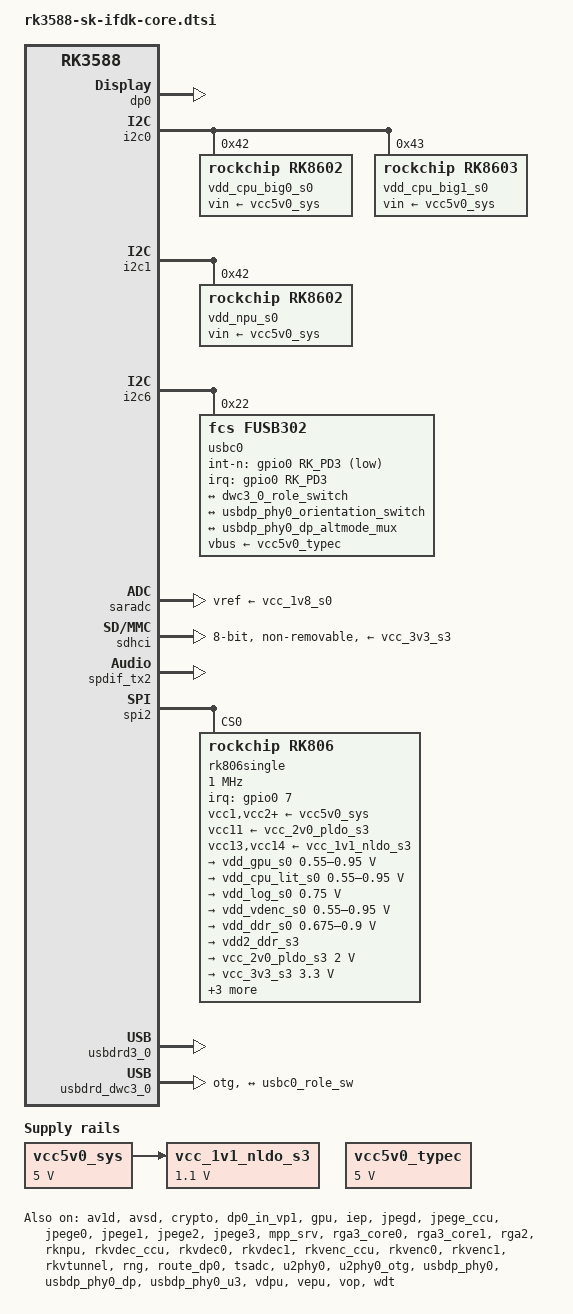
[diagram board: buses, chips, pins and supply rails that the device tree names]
// SPDX-License-Identifier: (GPL-2.0+ OR MIT)
/*
* Copyright (c) 2025 Sergey Kharenko
* Copyright (c) 2021 Rockchip Electronics Co., Ltd.
*/

#include <dt-bindings/display/drm_mipi_dsi.h>
#include <dt-bindings/display/rockchip_vop.h>
#include <dt-bindings/gpio/gpio.h>
#include <dt-bindings/pwm/pwm.h>
#include <dt-bindings/pinctrl/rockchip.h>
#include <dt-bindings/sensor-dev.h>
#include <dt-bindings/usb/pd.h>

#include "rk3588.dtsi"
#include "rk3588-linux.dtsi"

/ {
	chosen: chosen {
		bootargs = "earlycon=uart8250,mmio32,0xfeb50000 console=ttyFIQ0 coherent_pool=1m irqchip.gicv3_pseudo_nmi=0";
	};

	dp0_sound: dp0-sound {
		compatible = "rockchip,hdmi";
		rockchip,card-name = "rockchip-dp0";
		rockchip,mclk-fs = <512>;
		rockchip,cpu = <&spdif_tx2>;
		rockchip,codec = <&dp0 1>;
		rockchip,jack-det;
	};
	
	vcc5v0_sys: vcc5v0-sys {
		compatible = "regulator-fixed";
		regulator-name = "vcc5v0_sys";
		regulator-always-on;
		regulator-boot-on;
		regulator-min-microvolt = <5000000>;
		regulator-max-microvolt = <5000000>;
	};
	
	vcc5v0_typec: vcc5v0-typec-regulator {
		compatible = "regulator-fixed";
		regulator-name = "vcc5v0_typec";
		regulator-min-microvolt = <5000000>;
		regulator-max-microvolt = <5000000>;
	};
	
	vcc_1v1_nldo_s3: vcc-1v1-nldo-s3 {
		compatible = "regulator-fixed";
		regulator-name = "vcc_1v1_nldo_s3";
		regulator-always-on;
		regulator-boot-on;
		regulator-min-microvolt = <1100000>;
		regulator-max-microvolt = <1100000>;
		vin-supply = <&vcc5v0_sys>;
	};
};

&av1d {
	status = "okay";
};

&av1d_mmu {
	status = "okay";
};

&avsd {
	status = "okay";
};

&cpu_l0 {
	cpu-supply = <&vdd_cpu_lit_s0>;
	mem-supply = <&vdd_cpu_lit_mem_s0>;
};

&cpu_b0 {
	cpu-supply = <&vdd_cpu_big0_s0>;
	mem-supply = <&vdd_cpu_big0_mem_s0>;
};

&cpu_b2 {
	cpu-supply = <&vdd_cpu_big1_s0>;
	mem-supply = <&vdd_cpu_big1_mem_s0>;
};

&crypto {
	status = "okay";
};

&dp0 {
	status = "okay";
};

&dp0_in_vp0 {
	status = "disabled";
};

&dp0_in_vp1 {
	status = "okay";
};

&dp0_in_vp2 {
	status = "disabled";
};

&gpu {
	mali-supply = <&vdd_gpu_s0>;
	mem-supply = <&vdd_gpu_mem_s0>;
	status = "okay";
};

&i2c0 {
	status = "okay";
	pinctrl-names = "default";
	pinctrl-0 = <&i2c0m2_xfer>;
	
	vdd_cpu_big0_s0: vdd_cpu_big0_mem_s0: rk8602@42 {
		compatible = "rockchip,rk8602";
		reg = <0x42>;
		vin-supply = <&vcc5v0_sys>;
		regulator-compatible = "rk860x-reg";
		regulator-name = "vdd_cpu_big0_s0";
		regulator-min-microvolt = <550000>;
		regulator-max-microvolt = <1050000>;
		regulator-ramp-delay = <2300>;
		rockchip,suspend-voltage-selector = <1>;
		regulator-boot-on;
		regulator-always-on;
		regulator-state-mem {
			regulator-off-in-suspend;
		};
	};
	
	vdd_cpu_big1_s0: vdd_cpu_big1_mem_s0: rk8603@43 {
		compatible = "rockchip,rk8603";
		reg = <0x43>;
		vin-supply = <&vcc5v0_sys>;
		regulator-compatible = "rk860x-reg";
		regulator-name = "vdd_cpu_big1_s0";
		regulator-min-microvolt = <550000>;
		regulator-max-microvolt = <1050000>;
		regulator-ramp-delay = <2300>;
		rockchip,suspend-voltage-selector = <1>;
		regulator-boot-on;
		regulator-always-on;
		regulator-state-mem {
			regulator-off-in-suspend;
		};
	};
};

&i2c1 {
	status = "okay";
	pinctrl-names = "default";
	pinctrl-0 = <&i2c1m2_xfer>;
	
	vdd_npu_s0: vdd_npu_mem_s0: rk8602@42 {
		compatible = "rockchip,rk8602";
		reg = <0x42>;
		vin-supply = <&vcc5v0_sys>;
		regulator-compatible = "rk860x-reg";
		regulator-name = "vdd_npu_s0";
		regulator-min-microvolt = <550000>;
		regulator-max-microvolt = <950000>;
		regulator-ramp-delay = <2300>;
		rockchip,suspend-voltage-selector = <1>;
		regulator-boot-on;
		regulator-always-on;
		regulator-state-mem {
			regulator-off-in-suspend;
		};
	};
};

&i2c6 {
	status = "okay";
	
	usbc0: fusb302@22 {
		compatible = "fcs,fusb302";
		reg = <0x22>;
		interrupt-parent = <&gpio0>;
		interrupts = <RK_PD3 IRQ_TYPE_LEVEL_LOW>;
		int-n-gpios = <&gpio0 RK_PD3 GPIO_ACTIVE_LOW>;
		pinctrl-names = "default";
		pinctrl-0 = <&usbc0_int>;
		vbus-supply = <&vcc5v0_typec>;
		
		ports {
			#address-cells = <1>;
			#size-cells = <0>;
			
			port@0 {
				reg = <0>;
				usbc0_role_sw: endpoint@0 {
					remote-endpoint = <&dwc3_0_role_switch>;
				};
			};
		};
		
		usb_con: connector {
			compatible = "usb-c-connector";
			label = "USB-C";
			data-role = "dual";
			power-role = "dual";
			try-power-role = "sink";
			op-sink-microwatt = <1000000>;
			sink-pdos =
			<PDO_FIXED(5000, 3000, PDO_FIXED_USB_COMM)>;
			source-pdos =
			<PDO_FIXED(5000, 2000, PDO_FIXED_USB_COMM)>;
			
			altmodes {
				#address-cells = <1>;
				#size-cells = <0>;
				
				altmode@0 {
					reg = <0>;
					svid = <0xff01>;
					vdo = <0xffffffff>;
				};
			};
			
			ports {
				#address-cells = <1>;
				#size-cells = <0>;
				
				port@0 {
					reg = <0>;
					usbc0_orien_sw: endpoint {
						remote-endpoint = <&usbdp_phy0_orientation_switch>;
					};
				};
				
				port@1 {
					reg = <1>;
					dp_altmode_mux: endpoint {
						remote-endpoint = <&usbdp_phy0_dp_altmode_mux>;
					};
				};
			};
		};
	};
};

&iep {
	status = "okay";
};

&iep_mmu {
	status = "okay";
};

&jpegd {
	status = "okay";
};

&jpegd_mmu {
	status = "okay";
};

&jpege_ccu {
	status = "okay";
};

&jpege0 {
	status = "okay";
};

&jpege0_mmu {
	status = "okay";
};

&jpege1 {
	status = "okay";
};

&jpege1_mmu {
	status = "okay";
};

&jpege2 {
	status = "okay";
};

&jpege2_mmu {
	status = "okay";
};

&jpege3 {
	status = "okay";
};

&jpege3_mmu {
	status = "okay";
};

&mpp_srv {
	status = "okay";
};

&rga3_core0 {
	status = "okay";
};

&rga3_0_mmu {
	status = "okay";
};

&rga3_core1 {
	status = "okay";
};

&rga3_1_mmu {
	status = "okay";
};

&rga2 {
	status = "okay";
};

&rknpu {
	rknpu-supply = <&vdd_npu_s0>;
	mem-supply = <&vdd_npu_mem_s0>;
	status = "okay";
};

&rknpu_mmu {
	status = "okay";
};

&rkvdec_ccu {
	status = "okay";
};

&rkvdec0 {
	status = "okay";
	vdec-supply = <&vdd_vdenc_s0>;
};

&rkvdec0_mmu {
	status = "okay";
};

&rkvdec1 {
	status = "okay";
	vdec-supply = <&vdd_vdenc_s0>;
};

&rkvdec1_mmu {
	status = "okay";
};

&rkvenc_ccu {
	status = "okay";
};

&rkvenc0 {
	status = "okay";
	venc-supply = <&vdd_vdenc_s0>;
};

&rkvenc0_mmu {
	status = "okay";
};

&rkvenc1 {
	status = "okay";
	venc-supply = <&vdd_vdenc_s0>;
};

&rkvenc1_mmu {
	status = "okay";
};

&rkvtunnel {
	status = "okay";
};

&rng {
	status = "okay";
};

&route_dp0 {
    status = "okay";
};

&saradc {
	status = "okay";
	vref-supply = <&vcc_1v8_s0>;
};

&sdhci {
	status = "okay";
	bus-width = <8>;
	no-sdio;
	no-sd;
	non-removable;
	max-frequency = <200000000>;
	mmc-hs400-1_8v;
	mmc-hs400-enhanced-strobe;
	vmmc-supply = <&vcc_3v3_s3>;
	vqmmc-supply = <&vccio_sd_s0>;
};

&spdif_tx2 {
	status = "okay";
};

&spi2 {
	status = "okay";
	assigned-clocks = <&cru CLK_SPI2>;
	assigned-clock-rates = <200000000>;
	pinctrl-names = "default";
	pinctrl-0 = <&spi2m2_cs0 &spi2m2_pins>;
	num-cs = <1>;
	
	rk806single: rk806single@0 {
		compatible = "rockchip,rk806";
		spi-max-frequency = <1000000>;
		reg = <0x0>;
		
		interrupt-parent = <&gpio0>;
		interrupts = <7 IRQ_TYPE_LEVEL_LOW>;
		
		pinctrl-names = "default", "pmic-power-off";
		pinctrl-0 = <&pmic_pins>, <&rk806_dvs1_null>, <&rk806_dvs2_null>, <&rk806_dvs3_null>;
		pinctrl-1 = <&rk806_dvs1_pwrdn>;
		
		/* 2800mv-3500mv */
		low_voltage_threshold = <3000>;
		/* 2700mv-3400mv */
		shutdown_voltage_threshold = <2700>;
		/* 140 160 */
		shutdown_temperture_threshold = <160>;
		hotdie_temperture_threshold = <115>;
		
		/* 0: restart PMU;
		* 1: reset all the power off reset registers,
		*    forcing the state to switch to ACTIVE mode;
		* 2: Reset all the power off reset registers,
		*    forcing the state to switch to ACTIVE mode,
		*    and simultaneously pull down the RESETB PIN for 5mS before releasing
		*/
		pmic-reset-func = <1>;
		
		vcc1-supply = <&vcc5v0_sys>;
		vcc2-supply = <&vcc5v0_sys>;
		vcc3-supply = <&vcc5v0_sys>;
		vcc4-supply = <&vcc5v0_sys>;
		vcc5-supply = <&vcc5v0_sys>;
		vcc6-supply = <&vcc5v0_sys>;
		vcc7-supply = <&vcc5v0_sys>;
		vcc8-supply = <&vcc5v0_sys>;
		vcc9-supply = <&vcc5v0_sys>;
		vcc10-supply = <&vcc5v0_sys>;
		vcc11-supply = <&vcc_2v0_pldo_s3>;
		vcc12-supply = <&vcc5v0_sys>;
		vcc13-supply = <&vcc_1v1_nldo_s3>;
		vcc14-supply = <&vcc_1v1_nldo_s3>;
		vcca-supply = <&vcc5v0_sys>;
		
		pwrkey {
			status = "okay";
			wakeup-source;
			linux,code = <KEY_POWER>;
		};
		
		pinctrl_rk806: pinctrl_rk806 {
			gpio-controller;
			#gpio-cells = <2>;
			
			rk806_dvs1_null: rk806_dvs1_null {
				pins = "gpio_pwrctrl2";
				function = "pin_fun0";
			};
			
			rk806_dvs1_slp: rk806_dvs1_slp {
				pins = "gpio_pwrctrl1";
				function = "pin_fun1";
			};
			
			rk806_dvs1_pwrdn: rk806_dvs1_pwrdn {
				pins = "gpio_pwrctrl1";
				function = "pin_fun2";
			};
			
			rk806_dvs1_rst: rk806_dvs1_rst {
				pins = "gpio_pwrctrl1";
				function = "pin_fun3";
			};
			
			rk806_dvs2_null: rk806_dvs2_null {
				pins = "gpio_pwrctrl2";
				function = "pin_fun0";
			};
			
			rk806_dvs2_slp: rk806_dvs2_slp {
				pins = "gpio_pwrctrl2";
				function = "pin_fun1";
			};
			
			rk806_dvs2_pwrdn: rk806_dvs2_pwrdn {
				pins = "gpio_pwrctrl2";
				function = "pin_fun2";
			};
			
			rk806_dvs2_rst: rk806_dvs2_rst {
				pins = "gpio_pwrctrl2";
				function = "pin_fun3";
			};
			
			rk806_dvs2_dvs: rk806_dvs2_dvs {
				pins = "gpio_pwrctrl2";
				function = "pin_fun4";
			};
			
			rk806_dvs2_gpio: rk806_dvs2_gpio {
				pins = "gpio_pwrctrl2";
				function = "pin_fun5";
			};
			
			rk806_dvs3_null: rk806_dvs3_null {
				pins = "gpio_pwrctrl3";
				function = "pin_fun0";
			};
			
			rk806_dvs3_slp: rk806_dvs3_slp {
				pins = "gpio_pwrctrl3";
				function = "pin_fun1";
			};
			
			rk806_dvs3_pwrdn: rk806_dvs3_pwrdn {
				pins = "gpio_pwrctrl3";
				function = "pin_fun2";
			};
			
			rk806_dvs3_rst: rk806_dvs3_rst {
				pins = "gpio_pwrctrl3";
				function = "pin_fun3";
			};
			
			rk806_dvs3_dvs: rk806_dvs3_dvs {
				pins = "gpio_pwrctrl3";
				function = "pin_fun4";
			};
			
			rk806_dvs3_gpio: rk806_dvs3_gpio {
				pins = "gpio_pwrctrl3";
				function = "pin_fun5";
			};
		};
		
		regulators {
			vdd_gpu_s0: vdd_gpu_mem_s0: DCDC_REG1 {
				regulator-boot-on;
				regulator-min-microvolt = <550000>;
				regulator-max-microvolt = <950000>;
				regulator-ramp-delay = <12500>;
				regulator-name = "vdd_gpu_s0";
				regulator-enable-ramp-delay = <400>;
				regulator-state-mem {
					regulator-off-in-suspend;
				};
			};
			
			vdd_cpu_lit_s0: vdd_cpu_lit_mem_s0: DCDC_REG2 {
				regulator-always-on;
				regulator-boot-on;
				regulator-init-microvolt = <800000>;
				regulator-min-microvolt = <550000>;
				regulator-max-microvolt = <950000>;
				regulator-ramp-delay = <12500>;
				regulator-name = "vdd_cpu_lit_s0";
				regulator-state-mem {
					regulator-off-in-suspend;
				};
			};
			
			vdd_log_s0: DCDC_REG3 {
				regulator-always-on;
				regulator-boot-on;
				regulator-min-microvolt = <750000>;
				regulator-max-microvolt = <750000>;
				regulator-ramp-delay = <12500>;
				regulator-name = "vdd_log_s0";
				regulator-state-mem {
					regulator-on-in-suspend;
				};
			};
			
			vdd_vdenc_s0: vdd_vdenc_mem_s0: DCDC_REG4 {
				regulator-always-on;
				regulator-boot-on;
				regulator-min-microvolt = <550000>;
				regulator-max-microvolt = <950000>;
				regulator-init-microvolt = <750000>;
				regulator-ramp-delay = <12500>;
				regulator-name = "vdd_vdenc_s0";
				regulator-state-mem {
					regulator-off-in-suspend;
				};
			};
			
			vdd_ddr_s0: DCDC_REG5 {
				regulator-always-on;
				regulator-boot-on;
				regulator-min-microvolt = <675000>;
				regulator-max-microvolt = <900000>;
				regulator-ramp-delay = <12500>;
				regulator-name = "vdd_ddr_s0";
				regulator-state-mem {
					regulator-off-in-suspend;
					regulator-suspend-microvolt = <850000>;
				};
			};
			
			vdd2_ddr_s3: DCDC_REG6 {
				regulator-always-on;
				regulator-boot-on;
				regulator-name = "vdd2_ddr_s3";
				regulator-state-mem {
					regulator-on-in-suspend;
				};
			};
			
			vcc_2v0_pldo_s3: DCDC_REG7 {
				regulator-always-on;
				regulator-boot-on;
				regulator-min-microvolt = <2000000>;
				regulator-max-microvolt = <2000000>;
				regulator-name = "vdd_2v0_pldo_s3";
				regulator-state-mem {
					regulator-on-in-suspend;
					regulator-suspend-microvolt = <2000000>;
				};
			};
			
			vcc_3v3_s3: DCDC_REG8 {
				regulator-always-on;
				regulator-boot-on;
				regulator-min-microvolt = <3300000>;
				regulator-max-microvolt = <3300000>;
				regulator-name = "vcc_3v3_s3";
				regulator-state-mem {
					regulator-on-in-suspend;
					regulator-suspend-microvolt = <3300000>;
				};
			};
			
			vddq_ddr_s0: DCDC_REG9 {
				regulator-always-on;
				regulator-boot-on;
				regulator-name = "vddq_ddr_s0";
				regulator-state-mem {
					regulator-off-in-suspend;
				};
			};
			
			vcc_1v8_s3: DCDC_REG10 {
				regulator-always-on;
				regulator-boot-on;
				regulator-min-microvolt = <1800000>;
				regulator-max-microvolt = <1800000>;
				regulator-name = "vcc_1v8_s3";
				regulator-state-mem {
					regulator-on-in-suspend;
					regulator-suspend-microvolt = <1800000>;
				};
			};
			
			avcc_1v8_s0: PLDO_REG1 {
				regulator-always-on;
				regulator-boot-on;
				regulator-min-microvolt = <1800000>;
				regulator-max-microvolt = <1800000>;
				regulator-name = "avcc_1v8_s0";
				regulator-state-mem {
					regulator-off-in-suspend;
				};
			};
			
			vcc_1v8_s0: PLDO_REG2 {
				regulator-always-on;
				regulator-boot-on;
				regulator-min-microvolt = <1800000>;
				regulator-max-microvolt = <1800000>;
				regulator-name = "vcc_1v8_s0";
				regulator-state-mem {
					regulator-on-in-suspend;
					regulator-suspend-microvolt = <1800000>;
				};
			};
			
			avdd_1v2_s0: PLDO_REG3 {
				regulator-always-on;
				regulator-boot-on;
				regulator-min-microvolt = <1200000>;
				regulator-max-microvolt = <1200000>;
				regulator-name = "avdd_1v2_s0";
				regulator-state-mem {
					regulator-off-in-suspend;
				};
			};
			
			vcc_3v3_s0: PLDO_REG4 {
				regulator-always-on;
				regulator-boot-on;
				regulator-min-microvolt = <3300000>;
				regulator-max-microvolt = <3300000>;
				regulator-name = "vcc_3v3_s0";
				regulator-state-mem {
					regulator-on-in-suspend;
					regulator-suspend-microvolt = <3300000>;
				};
			};
			
			vccio_sd_s0: PLDO_REG5 {
				regulator-always-on;
				regulator-boot-on;
				regulator-min-microvolt = <1800000>;
				regulator-max-microvolt = <3300000>;
				regulator-name = "vccio_sd_s0";
				regulator-state-mem {
					regulator-off-in-suspend;
				};
			};
			
			pldo6_s3: PLDO_REG6 {
				regulator-always-on;
				regulator-boot-on;
				regulator-min-microvolt = <1800000>;
				regulator-max-microvolt = <1800000>;
				regulator-name = "pldo6_s3";
				regulator-state-mem {
					regulator-on-in-suspend;
					regulator-suspend-microvolt = <1800000>;
				};
			};
			
			vdd_0v75_s3: NLDO_REG1 {
				regulator-always-on;
				regulator-boot-on;
				regulator-min-microvolt = <750000>;
				regulator-max-microvolt = <750000>;
				regulator-name = "vdd_0v75_s3";
				regulator-state-mem {
					regulator-on-in-suspend;
					regulator-suspend-microvolt = <750000>;
				};
			};
			
			vdd_ddr_pll_s0: NLDO_REG2 {
				regulator-always-on;
				regulator-boot-on;
				regulator-min-microvolt = <850000>;
				regulator-max-microvolt = <850000>;
				regulator-name = "vdd_ddr_pll_s0";
				regulator-state-mem {
					regulator-off-in-suspend;
					regulator-suspend-microvolt = <850000>;
				};
			};
			
			avdd_0v75_s0: NLDO_REG3 {
				regulator-always-on;
				regulator-boot-on;
				regulator-min-microvolt = <750000>;
				regulator-max-microvolt = <750000>;
				regulator-name = "avdd_0v75_s0";
				regulator-state-mem {
					regulator-off-in-suspend;
				};
			};
			
			vdd_0v85_s0: NLDO_REG4 {
				regulator-always-on;
				regulator-boot-on;
				regulator-min-microvolt = <850000>;
				regulator-max-microvolt = <850000>;
				regulator-name = "vdd_0v85_s0";
				regulator-state-mem {
					regulator-off-in-suspend;
				};
			};
		};
	};
};

&tsadc {
	status = "okay";
};

&u2phy0 {
	status = "okay";
};

&u2phy0_otg {
	status = "okay";
	rockchip,typec-vbus-det;
	phy-supply = <&vcc5v0_typec>;
	vbus-supply = <&vcc5v0_typec>;
};

&usbdp_phy0 {
	status = "okay";
	svid = <0xff01>;
	orientation-switch;
	rockchip,dp-lane-mux = < 0 1 2 3 >;
	sbu1-dc-gpios = <&gpio4 RK_PA6 GPIO_ACTIVE_HIGH>;
	sbu2-dc-gpios = <&gpio4 RK_PA7 GPIO_ACTIVE_HIGH>;
	
	port {
		#address-cells = <1>;
		#size-cells = <0>;
		usbdp_phy0_orientation_switch: endpoint@0 {
			reg = <0>;
			remote-endpoint = <&usbc0_orien_sw>;
		};
		
		usbdp_phy0_dp_altmode_mux: endpoint@1 {
			reg = <1>;
			remote-endpoint = <&dp_altmode_mux>;
		};
	};
};

&usbdp_phy0_dp {
	status = "okay";
	phy-supply = <&vcc5v0_typec>;
};

&usbdp_phy0_u3 {
	status = "okay";
	phy-supply = <&vcc5v0_typec>;
};

&usbdrd3_0 {
	status = "okay";
};

&usbdrd_dwc3_0 {
	status = "okay";
	dr_mode = "otg";
	extcon = <&u2phy0>;
	usb-role-switch;
	
	port { 
		#address-cells = <1>;
		#size-cells = <0>;
		dwc3_0_role_switch: endpoint@0 {
			reg = <0>;
			remote-endpoint = <&usbc0_role_sw>;
		};
	};
};

&vdpu {
	status = "okay";
};

&vdpu_mmu {
	status = "okay";
};

&vepu {
	status = "okay";
};

&vop {
	status = "okay";
	assigned-clocks = <&cru ACLK_VOP>;
	assigned-clock-rates = <800000000>;
	vop-supply = <&vdd_log_s0>;
	support-multi-area;
	disable-win-move;
};

&vop_mmu {
	status = "okay";
};

&vp0 {
	cursor-win-id=<ROCKCHIP_VOP2_ESMART0>;
	rockchip,plane-mask = <(1 << ROCKCHIP_VOP2_CLUSTER0 | 1 << ROCKCHIP_VOP2_ESMART0)>;
	rockchip,primary-plane = <ROCKCHIP_VOP2_CLUSTER0>;
};

&vp1 {
	cursor-win-id=<ROCKCHIP_VOP2_ESMART1>;
	rockchip,plane-mask = <(1 << ROCKCHIP_VOP2_CLUSTER1 | 1 << ROCKCHIP_VOP2_ESMART1)>;
	rockchip,primary-plane = <ROCKCHIP_VOP2_CLUSTER1>;
};

&vp2 {
	cursor-win-id=<ROCKCHIP_VOP2_ESMART2>;
	rockchip,plane-mask = <(1 << ROCKCHIP_VOP2_CLUSTER2 | 1 << ROCKCHIP_VOP2_ESMART2)>;
	rockchip,primary-plane = <ROCKCHIP_VOP2_CLUSTER2>;
};

&vp3 {
	cursor-win-id=<ROCKCHIP_VOP2_ESMART3>;
	rockchip,plane-mask = <(1 << ROCKCHIP_VOP2_CLUSTER3 | 1 << ROCKCHIP_VOP2_ESMART3)>;
	rockchip,primary-plane = <ROCKCHIP_VOP2_CLUSTER3>;
};

&wdt {
	status = "okay";
};
